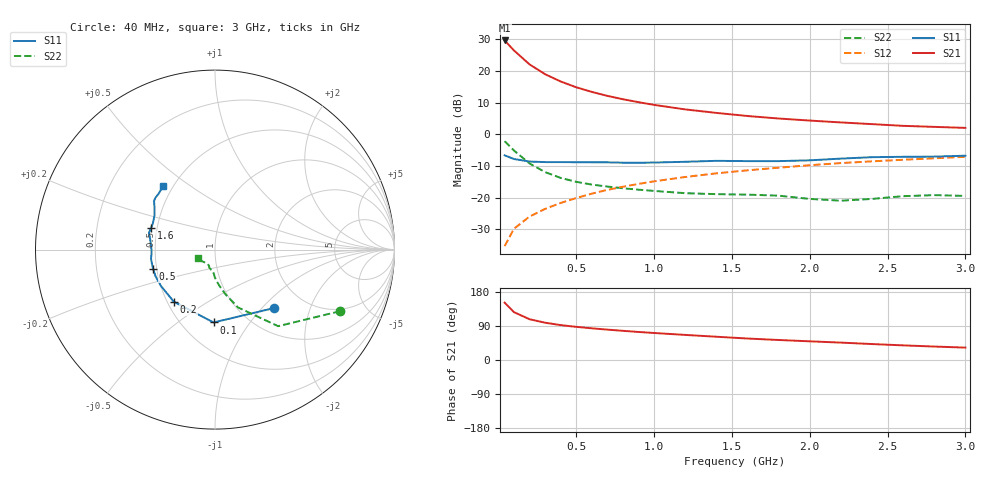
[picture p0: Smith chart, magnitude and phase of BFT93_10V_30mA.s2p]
! Filename:  BFT93H.S2P  Version:  2.0
! Philips part #: BFT93  Date: Aug 1990
! Bias condition: Vce=-10V, Ic=-30mA
#  MHz  S  MA  R  50
! Freq  S11  S21  S12  S22  !GUM [dB]
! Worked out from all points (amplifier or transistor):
!   21 points, 40 MHz to 3 GHz, reference 50 ohm
!   highest |S21| = 29.7 dB at 40 MHz (marker M1)
!   |S21| within 3 dB of that: start of sweep to 97.12 MHz
!   unconditionally stable (mu >= 1): 492.2 MHz to 2.937 GHz
!   at 300 MHz: K = 0.90, MSG = 21.3 dB, |S12| = -23.6 dB
!   at 1 GHz: K = 1.06, MAG = 10.7 dB, |S12| = -14.9 dB
!   at 3 GHz: K = 1.00, MSG = 4.6 dB, |S12| = -7.1 dB
!   S11 on the Smith chart (normalised r, x): 40 MHz: 1.42, -1.18; 100 MHz: 0.71, -0.69; 200 MHz: 0.54, -0.36; 500 MHz: 0.48, -0.12; 1.6 GHz: 0.46, +0.13; 3 GHz: 0.44, +0.40
40  0.464 -44.5  30.41 151.4  0.017 73.5  0.777 -26.2
100  0.406 -91.1  21.16 126.3  0.032 64.6  0.553 -50.5
200  0.37 -128.2  12.73 107.6  0.05 63.9  0.346 -68.4
300  0.363 -145.9  8.907 98.4  0.066 65.8  0.252 -77.2
400  0.363 -155.9  6.831 92.1  0.082 67.4  0.204 -82.9
500  0.361 -162.5  5.533 87.5  0.098 68.2  0.177 -86.9
600  0.36 -167.5  4.671 83.6  0.115 68.3  0.16 -89.4
700  0.36 -171.9  4.045 80.2  0.132 68.2  0.149 -91.1
800  0.355 -175.8  3.579 77.0  0.148 68.0  0.14 -91.9
900  0.354 -179.9  3.215 74.0  0.164 67.3  0.133 -93.1
1000  0.357 176.5  2.913 71.3  0.18 66.7  0.127 -94.5
1200  0.367 170.3  2.471 66.2  0.211 65.1  0.117 -98.2
1400  0.38 165.7  2.176 61.4  0.241 63.3  0.113 -101.9
1600  0.376 161.5  1.944 56.7  0.269 61.7  0.111 -102.3
1800  0.376 156.9  1.774 52.8  0.296 59.9  0.107 -106.9
2000  0.387 150.6  1.646 49.3  0.324 58.4  0.095 -110.9
2200  0.412 144.9  1.538 45.9  0.35 56.6  0.089 -121.3
2400  0.434 141.5  1.446 42.1  0.373 54.8  0.095 -135.6
2600  0.44 139.1  1.358 38.6  0.395 52.9  0.105 -143.9
2800  0.443 134.8  1.308 35.5  0.417 51.1  0.109 -147.1
3000  0.458 129.0  1.261 32.7  0.44 49.5  0.106 -154.6
